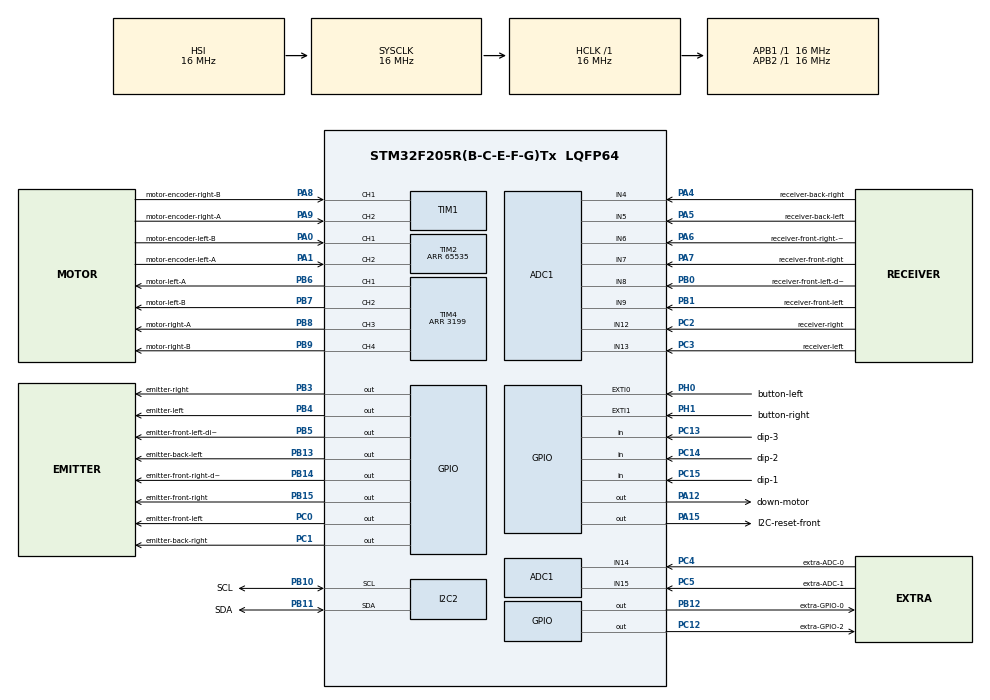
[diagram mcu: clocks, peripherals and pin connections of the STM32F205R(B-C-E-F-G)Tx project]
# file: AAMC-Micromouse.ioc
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ADC1.Channel-1\#ChannelRegularConversion=ADC_CHANNEL_4
ADC1.ContinuousConvMode=ENABLE
ADC1.DMAContinuousRequests=ENABLE
ADC1.NbrOfConversionFlag=1
ADC1.Rank-1\#ChannelRegularConversion=1
ADC1.SamplingTime-1\#ChannelRegularConversion=ADC_SAMPLETIME_3CYCLES
ADC1.master=1
Dma.ADC1.0.Direction=DMA_PERIPH_TO_MEMORY
Dma.ADC1.0.FIFOMode=DMA_FIFOMODE_DISABLE
Dma.ADC1.0.Instance=DMA2_Stream0
Dma.ADC1.0.MemDataAlignment=DMA_MDATAALIGN_HALFWORD
Dma.ADC1.0.MemInc=DMA_MINC_ENABLE
Dma.ADC1.0.Mode=DMA_CIRCULAR
Dma.ADC1.0.PeriphDataAlignment=DMA_PDATAALIGN_HALFWORD
Dma.ADC1.0.PeriphInc=DMA_PINC_DISABLE
Dma.ADC1.0.Priority=DMA_PRIORITY_LOW
Dma.Request0=ADC1
Mcu.Family=STM32F2
Mcu.Name=STM32F205R(B-C-E-F-G)Tx
Mcu.Package=LQFP64
NVIC.ADC_IRQn=true\:0\:0\:false\:false\:true\:true\:true\:true
NVIC.DMA2_Stream0_IRQn=true\:0\:0\:false\:false\:true\:false\:true\:true
NVIC.EXTI0_IRQn=true\:0\:0\:false\:false\:true\:true\:true\:true
NVIC.EXTI1_IRQn=true\:0\:0\:false\:false\:true\:true\:true\:true
NVIC.PriorityGroup=NVIC_PRIORITYGROUP_4
NVIC.TIM4_IRQn=true\:0\:0\:false\:false\:true\:true\:true\:true
PA0-WKUP.GPIO_Label=motor-encoder-left-B
PA0-WKUP.Signal=S_TIM2_CH1_ETR
PA1.GPIO_Label=motor-encoder-left-A
PA1.Signal=S_TIM2_CH2
PA11.GPIO_Label=LED-back-left
PA11.Signal=S_TIM1_CH4
PA12.GPIO_Label=down-motor
PA12.GPIO_PuPd=GPIO_PULLDOWN
PA12.Signal=GPIO_Output
PA13.GPIO_Label=SWDIO
PA13.Mode=Serial_Wire
PA13.Signal=SYS_JTMS-SWDIO
PA14.GPIO_Label=SWCLK
PA14.Mode=Serial_Wire
PA14.Signal=SYS_JTCK-SWCLK
PA15.GPIO_Label=I2C-reset-front
PA15.GPIO_PuPd=GPIO_PULLDOWN
PA15.Signal=GPIO_Output
PA2.GPIO_Label=LED-front-right
PA2.Signal=S_TIM2_CH3
PA3.GPIO_Label=LED-back-left
PA3.Signal=S_TIM2_CH4
PA4.GPIO_Label=receiver-back-right
PA4.Signal=ADCx_IN4
PA5.GPIO_Label=receiver-back-left
PA5.Signal=ADCx_IN5
PA6.GPIO_Label=receiver-front-right-diagonal
PA6.Signal=ADCx_IN6
PA7.GPIO_Label=receiver-front-right
PA7.Signal=ADCx_IN7
PA8.GPIO_Label=motor-encoder-right-B
PA8.Signal=S_TIM1_CH1
PA9.GPIO_Label=motor-encoder-right-A
PA9.Signal=S_TIM1_CH2
PB0.GPIO_Label=receiver-front-left-diagonal
PB0.Signal=ADCx_IN8
PB1.GPIO_Label=receiver-front-left
PB1.Signal=ADCx_IN9
PB10.GPIO_Label=SCL
PB10.Mode=I2C
PB10.Signal=I2C2_SCL
PB11.GPIO_Label=SDA
PB11.Mode=I2C
PB11.Signal=I2C2_SDA
PB12.GPIO_Label=extra-GPIO-0
PB12.Signal=GPIO_Output
PB13.GPIO_Label=emitter-back-left
PB13.Signal=GPIO_Output
PB14.GPIO_Label=emitter-front-right-diagonal
PB14.Signal=GPIO_Output
PB15.GPIO_Label=emitter-front-right
PB15.Signal=GPIO_Output
PB3.GPIO_Label=emitter-right
PB3.Signal=GPIO_Output
PB4.GPIO_Label=emitter-left
PB4.Signal=GPIO_Output
PB5.GPIO_Label=emitter-front-left-diagonal
PB5.Signal=GPIO_Output
PB6.GPIO_Label=motor-left-A
PB6.Signal=S_TIM4_CH1
PB7.GPIO_Label=motor-left-B
PB7.Signal=S_TIM4_CH2
PB8.GPIO_Label=motor-right-A
PB8.Signal=S_TIM4_CH3
PB9.GPIO_Label=motor-right-B
PB9.Signal=S_TIM4_CH4
PC0.GPIO_Label=emitter-front-left
PC0.Signal=GPIO_Output
PC1.GPIO_Label=emitter-back-right
PC1.Signal=GPIO_Output
PC10.GPIO_Label=USART3_TX
PC10.Signal=USART3_TX
PC11.GPIO_Label=USART3_RX
PC11.Signal=USART3_RX
PC12.GPIO_Label=extra-GPIO-2
PC12.Signal=GPIO_Output
PC13.GPIO_Label=dip-3
PC13.GPIO_PuPd=GPIO_PULLDOWN
PC13.Signal=GPIO_Input
PC14-OSC32_IN.GPIO_Label=dip-2
PC14-OSC32_IN.GPIO_PuPd=GPIO_PULLDOWN
PC14-OSC32_IN.Signal=GPIO_Input
PC15-OSC32_OUT.GPIO_Label=dip-1
PC15-OSC32_OUT.GPIO_PuPd=GPIO_PULLDOWN
PC15-OSC32_OUT.Signal=GPIO_Input
PC2.GPIO_Label=receiver-right
PC2.Signal=ADCx_IN12
PC3.GPIO_Label=receiver-left
PC3.Signal=ADCx_IN13
PC4.GPIO_Label=extra-ADC-0
PC4.Signal=ADCx_IN14
PC5.GPIO_Label=extra-ADC-1
PC5.Signal=ADCx_IN15
PC6.GPIO_Label=piezo-A
PC6.Signal=S_TIM3_CH1
PC7.GPIO_Label=piezo-B
PC7.Signal=S_TIM3_CH2
PC8.GPIO_Label=neopixel
PC8.Signal=S_TIM3_CH3
PC9.GPIO_Label=extra-PWM-0
PC9.Signal=S_TIM3_CH4
PH0-OSC_IN.GPIO_Label=button-left
PH0-OSC_IN.GPIO_ModeDefaultEXTI=GPIO_MODE_IT_RISING_FALLING
PH0-OSC_IN.GPIO_PuPd=GPIO_PULLDOWN
PH0-OSC_IN.Signal=GPXTI0
PH1-OSC_OUT.GPIO_Label=button-right
PH1-OSC_OUT.GPIO_ModeDefaultEXTI=GPIO_MODE_IT_RISING_FALLING
PH1-OSC_OUT.GPIO_PuPd=GPIO_PULLDOWN
PH1-OSC_OUT.Signal=GPXTI1
ProjectManager.HeapSize=0x200
ProjectManager.StackSize=0x400
ProjectManager.TargetToolchain=STM32CubeIDE
RCC.48MHZClocksFreq_Value=48000000
RCC.AHBFreq_Value=16000000
RCC.APB1Freq_Value=16000000
RCC.APB2Freq_Value=16000000
RCC.CortexFreq_Value=16000000
RCC.HSE_VALUE=25000000
RCC.HSI_VALUE=16000000
RCC.LSE_VALUE=32768
RCC.SYSCLKFreq_VALUE=16000000
RCC.VCOOutputFreq_Value=192000000
SH.ADCx_IN12.0=ADC1_IN12,IN12
SH.ADCx_IN13.0=ADC1_IN13,IN13
SH.ADCx_IN14.0=ADC1_IN14,IN14
SH.ADCx_IN15.0=ADC1_IN15,IN15
SH.ADCx_IN4.0=ADC1_IN4,IN4
SH.ADCx_IN5.0=ADC1_IN5,IN5
SH.ADCx_IN6.0=ADC1_IN6,IN6
SH.ADCx_IN7.0=ADC1_IN7,IN7
SH.ADCx_IN8.0=ADC1_IN8,IN8
SH.ADCx_IN9.0=ADC1_IN9,IN9
SH.S_TIM1_CH1.0=TIM1_CH1,Encoder_Interface
SH.S_TIM1_CH2.0=TIM1_CH2,Encoder_Interface
SH.S_TIM1_CH4.0=TIM1_CH4
SH.S_TIM2_CH1_ETR.0=TIM2_CH1,Encoder_Interface
SH.S_TIM2_CH2.0=TIM2_CH2,Encoder_Interface
SH.S_TIM2_CH3.0=TIM2_CH3
SH.S_TIM2_CH4.0=TIM2_CH4
SH.S_TIM3_CH1.0=TIM3_CH1
SH.S_TIM3_CH2.0=TIM3_CH2
SH.S_TIM3_CH3.0=TIM3_CH3
SH.S_TIM3_CH4.0=TIM3_CH4
SH.S_TIM4_CH1.0=TIM4_CH1,PWM Generation1 CH1
SH.S_TIM4_CH2.0=TIM4_CH2,PWM Generation2 CH2
SH.S_TIM4_CH3.0=TIM4_CH3,PWM Generation3 CH3
SH.S_TIM4_CH4.0=TIM4_CH4,PWM Generation4 CH4
TIM1.EncoderMode=TIM_ENCODERMODE_TI12
TIM2.EncoderMode=TIM_ENCODERMODE_TI12
TIM2.Period=65535
TIM4.Channel-PWM\ Generation1\ CH1=TIM_CHANNEL_1
TIM4.Channel-PWM\ Generation2\ CH2=TIM_CHANNEL_2
TIM4.Channel-PWM\ Generation3\ CH3=TIM_CHANNEL_3
TIM4.Channel-PWM\ Generation4\ CH4=TIM_CHANNEL_4
TIM4.Period=3199
board=custom

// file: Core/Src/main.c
/* USER CODE BEGIN Header */
/**
  ******************************************************************************
  * @file           : main.c
  * @brief          : Main program body
  ******************************************************************************
  * @attention
  *
  * Copyright (c) 2024 STMicroelectronics.
  * All rights reserved.
  *
  * This software is licensed under terms that can be found in the LICENSE file
  * in the root directory of this software component.
  * If no LICENSE file comes with this software, it is provided AS-IS.
  *
  ******************************************************************************
  */
/* USER CODE END Header */
#include "main.h"

/* USER CODE BEGIN Includes */
#include "encoders.h"
#include "motors.h"
//#include "controller.h"
#include "delay.h"
#include "irs.h"

/* USER CODE END Includes */

/* USER CODE BEGIN PD */

#define WALL_IR_THRESHOLD_FR 430
#define WALL_IR_THRESHOLD_FL 430
#define WALL_IR_THRESHOLD_LEFT 430
#define WALL_IR_THRESHOLD_RIGHT 430
/* USER CODE END PD */

ADC_HandleTypeDef hadc1;
DMA_HandleTypeDef hdma_adc1;

I2C_HandleTypeDef hi2c2;

TIM_HandleTypeDef htim1;
TIM_HandleTypeDef htim2;
TIM_HandleTypeDef htim4;

/* USER CODE BEGIN PV */
int buttonPressed = 0;
int16_t left_counts = 0;
int16_t right_counts = 0;

uint16_t ir_reading_left = 0;
uint16_t ir_reading_front_left = 0;
uint16_t ir_reading_front_right = 0;
uint16_t ir_reading_right = 0;
/* USER CODE END PV */

void SystemClock_Config(void);
static void MX_GPIO_Init(void);
static void MX_DMA_Init(void);
static void MX_ADC1_Init(void);
static void MX_TIM1_Init(void);
static void MX_TIM2_Init(void);
static void MX_TIM4_Init(void);
static void MX_I2C2_Init(void);

int main(void)
{

  /* MCU Configuration--------------------------------------------------------*/

  /* Reset of all peripherals, Initializes the Flash interface and the Systick. */
      HAL_Init();

  /* USER CODE BEGIN Init */
  Delay_Init();
  /* USER CODE END Init */

  /* Configure the system clock */
  SystemClock_Config();

  /* Initialize all configured peripherals */
  MX_GPIO_Init();
  MX_DMA_Init();
  MX_ADC1_Init();
  MX_TIM1_Init();
  MX_TIM2_Init();
  MX_TIM4_Init();
  MX_I2C2_Init();
  /* USER CODE BEGIN 2 */

  HAL_TIM_Encoder_Start(&htim1, TIM_CHANNEL_ALL);
  HAL_TIM_Encoder_Start(&htim2, TIM_CHANNEL_ALL);
  HAL_TIM_PWM_Start(&htim4, TIM_CHANNEL_1);
  HAL_TIM_PWM_Start(&htim4, TIM_CHANNEL_2);
  HAL_TIM_PWM_Start(&htim4, TIM_CHANNEL_3);
  HAL_TIM_PWM_Start(&htim4, TIM_CHANNEL_4);

  /* USER CODE END 2 */

  /* Infinite loop */
  while (1)
  {

    /* USER CODE BEGIN 3 */
	  resetMotors();
	  ir_reading_left = readLeftIR();
	  ir_reading_front_left = readFrontLeftIR();
	  ir_reading_front_right = readFrontRightIR();
	  ir_reading_right = readRightIR();
	  left_counts = getLeftEncoderCounts();
	  right_counts = getRightEncoderCounts();
	  setMotorRPWM(0.5);
	  setMotorLPWM(0.5);
	  delayMicroseconds(1000000);
	  resetMotors();
	  delayMicroseconds(1000000);

  }
  /* USER CODE END 3 */
}

void SystemClock_Config(void)
{
  RCC_OscInitTypeDef RCC_OscInitStruct = {0};
  RCC_ClkInitTypeDef RCC_ClkInitStruct = {0};

  /** Initializes the RCC Oscillators according to the specified parameters
  * in the RCC_OscInitTypeDef structure.
  */
  RCC_OscInitStruct.OscillatorType = RCC_OSCILLATORTYPE_HSI;
  RCC_OscInitStruct.HSIState = RCC_HSI_ON;
  RCC_OscInitStruct.HSICalibrationValue = RCC_HSICALIBRATION_DEFAULT;
  RCC_OscInitStruct.PLL.PLLState = RCC_PLL_NONE;
  if (HAL_RCC_OscConfig(&RCC_OscInitStruct) != HAL_OK)
  {
    Error_Handler();
  }

  /** Initializes the CPU, AHB and APB buses clocks
  */
  RCC_ClkInitStruct.ClockType = RCC_CLOCKTYPE_HCLK|RCC_CLOCKTYPE_SYSCLK
                              |RCC_CLOCKTYPE_PCLK1|RCC_CLOCKTYPE_PCLK2;
  RCC_ClkInitStruct.SYSCLKSource = RCC_SYSCLKSOURCE_HSI;
  RCC_ClkInitStruct.AHBCLKDivider = RCC_SYSCLK_DIV1;
  RCC_ClkInitStruct.APB1CLKDivider = RCC_HCLK_DIV1;
  RCC_ClkInitStruct.APB2CLKDivider = RCC_HCLK_DIV1;

  if (HAL_RCC_ClockConfig(&RCC_ClkInitStruct, FLASH_LATENCY_0) != HAL_OK)
  {
    Error_Handler();
  }
}

static void MX_ADC1_Init(void)
{

  ADC_ChannelConfTypeDef sConfig = {0};

  /** Configure the global features of the ADC (Clock, Resolution, Data Alignment and number of conversion)
  */
  hadc1.Instance = ADC1;
  hadc1.Init.ClockPrescaler = ADC_CLOCK_SYNC_PCLK_DIV2;
  hadc1.Init.Resolution = ADC_RESOLUTION_12B;
  hadc1.Init.ScanConvMode = DISABLE;
  hadc1.Init.ContinuousConvMode = ENABLE;
  hadc1.Init.DiscontinuousConvMode = DISABLE;
  hadc1.Init.ExternalTrigConvEdge = ADC_EXTERNALTRIGCONVEDGE_NONE;
  hadc1.Init.ExternalTrigConv = ADC_SOFTWARE_START;
  hadc1.Init.DataAlign = ADC_DATAALIGN_RIGHT;
  hadc1.Init.NbrOfConversion = 1;
  hadc1.Init.DMAContinuousRequests = ENABLE;
  hadc1.Init.EOCSelection = ADC_EOC_SINGLE_CONV;
  if (HAL_ADC_Init(&hadc1) != HAL_OK)
  {
    Error_Handler();
  }

  /** Configure for the selected ADC regular channel its corresponding rank in the sequencer and its sample time.
  */
  sConfig.Channel = ADC_CHANNEL_4;
  sConfig.Rank = 1;
  sConfig.SamplingTime = ADC_SAMPLETIME_3CYCLES;
  if (HAL_ADC_ConfigChannel(&hadc1, &sConfig) != HAL_OK)
  {
    Error_Handler();
  }

}

static void MX_I2C2_Init(void)
{

  hi2c2.Instance = I2C2;
  hi2c2.Init.ClockSpeed = 100000;
  hi2c2.Init.DutyCycle = I2C_DUTYCYCLE_2;
  hi2c2.Init.OwnAddress1 = 0;
  hi2c2.Init.AddressingMode = I2C_ADDRESSINGMODE_7BIT;
  hi2c2.Init.DualAddressMode = I2C_DUALADDRESS_DISABLE;
  hi2c2.Init.OwnAddress2 = 0;
  hi2c2.Init.GeneralCallMode = I2C_GENERALCALL_DISABLE;
  hi2c2.Init.NoStretchMode = I2C_NOSTRETCH_DISABLE;
  if (HAL_I2C_Init(&hi2c2) != HAL_OK)
  {
    Error_Handler();
  }

}

static void MX_TIM1_Init(void)
{

  TIM_Encoder_InitTypeDef sConfig = {0};
  TIM_MasterConfigTypeDef sMasterConfig = {0};

  htim1.Instance = TIM1;
  htim1.Init.Prescaler = 0;
  htim1.Init.CounterMode = TIM_COUNTERMODE_UP;
  htim1.Init.Period = 65535;
  htim1.Init.ClockDivision = TIM_CLOCKDIVISION_DIV1;
  htim1.Init.RepetitionCounter = 0;
  htim1.Init.AutoReloadPreload = TIM_AUTORELOAD_PRELOAD_DISABLE;
  sConfig.EncoderMode = TIM_ENCODERMODE_TI12;
  sConfig.IC1Polarity = TIM_ICPOLARITY_RISING;
  sConfig.IC1Selection = TIM_ICSELECTION_DIRECTTI;
  sConfig.IC1Prescaler = TIM_ICPSC_DIV1;
  sConfig.IC1Filter = 0;
  sConfig.IC2Polarity = TIM_ICPOLARITY_RISING;
  sConfig.IC2Selection = TIM_ICSELECTION_DIRECTTI;
  sConfig.IC2Prescaler = TIM_ICPSC_DIV1;
  sConfig.IC2Filter = 0;
  if (HAL_TIM_Encoder_Init(&htim1, &sConfig) != HAL_OK)
  {
    Error_Handler();
  }
  sMasterConfig.MasterOutputTrigger = TIM_TRGO_RESET;
  sMasterConfig.MasterSlaveMode = TIM_MASTERSLAVEMODE_DISABLE;
  if (HAL_TIMEx_MasterConfigSynchronization(&htim1, &sMasterConfig) != HAL_OK)
  {
    Error_Handler();
  }

}

static void MX_TIM2_Init(void)
{

  TIM_Encoder_InitTypeDef sConfig = {0};
  TIM_MasterConfigTypeDef sMasterConfig = {0};

  htim2.Instance = TIM2;
  htim2.Init.Prescaler = 0;
  htim2.Init.CounterMode = TIM_COUNTERMODE_UP;
  htim2.Init.Period = 65535;
  htim2.Init.ClockDivision = TIM_CLOCKDIVISION_DIV1;
  htim2.Init.AutoReloadPreload = TIM_AUTORELOAD_PRELOAD_DISABLE;
  sConfig.EncoderMode = TIM_ENCODERMODE_TI12;
  sConfig.IC1Polarity = TIM_ICPOLARITY_RISING;
  sConfig.IC1Selection = TIM_ICSELECTION_DIRECTTI;
  sConfig.IC1Prescaler = TIM_ICPSC_DIV1;
  sConfig.IC1Filter = 0;
  sConfig.IC2Polarity = TIM_ICPOLARITY_RISING;
  sConfig.IC2Selection = TIM_ICSELECTION_DIRECTTI;
  sConfig.IC2Prescaler = TIM_ICPSC_DIV1;
  sConfig.IC2Filter = 0;
  if (HAL_TIM_Encoder_Init(&htim2, &sConfig) != HAL_OK)
  {
    Error_Handler();
  }
  sMasterConfig.MasterOutputTrigger = TIM_TRGO_RESET;
  sMasterConfig.MasterSlaveMode = TIM_MASTERSLAVEMODE_DISABLE;
  if (HAL_TIMEx_MasterConfigSynchronization(&htim2, &sMasterConfig) != HAL_OK)
  {
    Error_Handler();
  }

}

static void MX_TIM4_Init(void)
{

  TIM_MasterConfigTypeDef sMasterConfig = {0};
  TIM_OC_InitTypeDef sConfigOC = {0};

  htim4.Instance = TIM4;
  htim4.Init.Prescaler = 0;
  htim4.Init.CounterMode = TIM_COUNTERMODE_UP;
  htim4.Init.Period = 3199;
  htim4.Init.ClockDivision = TIM_CLOCKDIVISION_DIV1;
  htim4.Init.AutoReloadPreload = TIM_AUTORELOAD_PRELOAD_DISABLE;
  if (HAL_TIM_PWM_Init(&htim4) != HAL_OK)
  {
    Error_Handler();
  }
  sMasterConfig.MasterOutputTrigger = TIM_TRGO_RESET;
  sMasterConfig.MasterSlaveMode = TIM_MASTERSLAVEMODE_DISABLE;
  if (HAL_TIMEx_MasterConfigSynchronization(&htim4, &sMasterConfig) != HAL_OK)
  {
    Error_Handler();
  }
  sConfigOC.OCMode = TIM_OCMODE_PWM1;
  sConfigOC.Pulse = 0;
  sConfigOC.OCPolarity = TIM_OCPOLARITY_HIGH;
  sConfigOC.OCFastMode = TIM_OCFAST_DISABLE;
  if (HAL_TIM_PWM_ConfigChannel(&htim4, &sConfigOC, TIM_CHANNEL_1) != HAL_OK)
  {
    Error_Handler();
  }
  if (HAL_TIM_PWM_ConfigChannel(&htim4, &sConfigOC, TIM_CHANNEL_2) != HAL_OK)
  {
    Error_Handler();
  }
  if (HAL_TIM_PWM_ConfigChannel(&htim4, &sConfigOC, TIM_CHANNEL_3) != HAL_OK)
  {
    Error_Handler();
  }
  if (HAL_TIM_PWM_ConfigChannel(&htim4, &sConfigOC, TIM_CHANNEL_4) != HAL_OK)
  {
    Error_Handler();
  }
  HAL_TIM_MspPostInit(&htim4);

}

static void MX_DMA_Init(void)
{

  /* DMA controller clock enable */
  __HAL_RCC_DMA2_CLK_ENABLE();

  /* DMA interrupt init */
  /* DMA2_Stream0_IRQn interrupt configuration */
  HAL_NVIC_SetPriority(DMA2_Stream0_IRQn, 0, 0);
  HAL_NVIC_EnableIRQ(DMA2_Stream0_IRQn);

}

static void MX_GPIO_Init(void)
{
  GPIO_InitTypeDef GPIO_InitStruct = {0};

  /* GPIO Ports Clock Enable */
  __HAL_RCC_GPIOC_CLK_ENABLE();
  __HAL_RCC_GPIOH_CLK_ENABLE();
  __HAL_RCC_GPIOA_CLK_ENABLE();
  __HAL_RCC_GPIOB_CLK_ENABLE();

  /*Configure GPIO pin Output Level */
  HAL_GPIO_WritePin(GPIOC, emitter_front_left_Pin|emitter_back_right_Pin|extra_GPIO_2_Pin, GPIO_PIN_RESET);

  /*Configure GPIO pin Output Level */
  HAL_GPIO_WritePin(GPIOB, extra_GPIO_0_Pin|emitter_back_left_Pin|emitter_front_right_diagonal_Pin|emitter_front_right_Pin
                          |emitter_right_Pin|emitter_left_Pin|emitter_front_left_diagonal_Pin, GPIO_PIN_RESET);

  /*Configure GPIO pin Output Level */
  HAL_GPIO_WritePin(GPIOA, down_motor_Pin|I2C_reset_front_Pin, GPIO_PIN_RESET);

  /*Configure GPIO pins : dip_3_Pin dip_2_Pin dip_1_Pin */
  GPIO_InitStruct.Pin = dip_3_Pin|dip_2_Pin|dip_1_Pin;
  GPIO_InitStruct.Mode = GPIO_MODE_INPUT;
  GPIO_InitStruct.Pull = GPIO_PULLDOWN;
  HAL_GPIO_Init(GPIOC, &GPIO_InitStruct);

  /*Configure GPIO pins : button_left_Pin button_right_Pin */
  GPIO_InitStruct.Pin = button_left_Pin|button_right_Pin;
  GPIO_InitStruct.Mode = GPIO_MODE_IT_RISING_FALLING;
  GPIO_InitStruct.Pull = GPIO_PULLDOWN;
  HAL_GPIO_Init(GPIOH, &GPIO_InitStruct);

  /*Configure GPIO pins : emitter_front_left_Pin emitter_back_right_Pin extra_GPIO_2_Pin */
  GPIO_InitStruct.Pin = emitter_front_left_Pin|emitter_back_right_Pin|extra_GPIO_2_Pin;
  GPIO_InitStruct.Mode = GPIO_MODE_OUTPUT_PP;
  GPIO_InitStruct.Pull = GPIO_NOPULL;
  GPIO_InitStruct.Speed = GPIO_SPEED_FREQ_LOW;
  HAL_GPIO_Init(GPIOC, &GPIO_InitStruct);

  /*Configure GPIO pins : extra_GPIO_0_Pin emitter_back_left_Pin emitter_front_right_diagonal_Pin emitter_front_right_Pin
                           emitter_right_Pin emitter_left_Pin emitter_front_left_diagonal_Pin */
  GPIO_InitStruct.Pin = extra_GPIO_0_Pin|emitter_back_left_Pin|emitter_front_right_diagonal_Pin|emitter_front_right_Pin
                          |emitter_right_Pin|emitter_left_Pin|emitter_front_left_diagonal_Pin;
  GPIO_InitStruct.Mode = GPIO_MODE_OUTPUT_PP;
  GPIO_InitStruct.Pull = GPIO_NOPULL;
  GPIO_InitStruct.Speed = GPIO_SPEED_FREQ_LOW;
  HAL_GPIO_Init(GPIOB, &GPIO_InitStruct);

  /*Configure GPIO pins : piezo_A_Pin piezo_B_Pin neopixel_Pin extra_PWM_0_Pin */
  GPIO_InitStruct.Pin = piezo_A_Pin|piezo_B_Pin|neopixel_Pin|extra_PWM_0_Pin;
  GPIO_InitStruct.Mode = GPIO_MODE_AF_PP;
  GPIO_InitStruct.Pull = GPIO_NOPULL;
  GPIO_InitStruct.Speed = GPIO_SPEED_FREQ_LOW;
  GPIO_InitStruct.Alternate = GPIO_AF2_TIM3;
  HAL_GPIO_Init(GPIOC, &GPIO_InitStruct);

  /*Configure GPIO pins : down_motor_Pin I2C_reset_front_Pin */
  GPIO_InitStruct.Pin = down_motor_Pin|I2C_reset_front_Pin;
  GPIO_InitStruct.Mode = GPIO_MODE_OUTPUT_PP;
  GPIO_InitStruct.Pull = GPIO_PULLDOWN;
  GPIO_InitStruct.Speed = GPIO_SPEED_FREQ_LOW;
  HAL_GPIO_Init(GPIOA, &GPIO_InitStruct);

  /*Configure GPIO pins : USART3_TX_Pin USART3_RX_Pin */
  GPIO_InitStruct.Pin = USART3_TX_Pin|USART3_RX_Pin;
  GPIO_InitStruct.Mode = GPIO_MODE_AF_PP;
  GPIO_InitStruct.Pull = GPIO_NOPULL;
  GPIO_InitStruct.Speed = GPIO_SPEED_FREQ_VERY_HIGH;
  GPIO_InitStruct.Alternate = GPIO_AF7_USART3;
  HAL_GPIO_Init(GPIOC, &GPIO_InitStruct);

  /* EXTI interrupt init*/
  HAL_NVIC_SetPriority(EXTI0_IRQn, 0, 0);
  HAL_NVIC_EnableIRQ(EXTI0_IRQn);

  HAL_NVIC_SetPriority(EXTI1_IRQn, 0, 0);
  HAL_NVIC_EnableIRQ(EXTI1_IRQn);

}

/* USER CODE BEGIN 4 */
ADC_HandleTypeDef* Get_HADC1_Ptr(void)
{
	return &hadc1;
}

void HAL_GPIO_EXTI_Callback(uint16_t GPIO_PIN) {
	resetMotors();
	if (GPIO_PIN == button_left_Pin) {
		if (HAL_GPIO_ReadPin(button_left_GPIO_Port, button_left_Pin) == GPIO_PIN_SET) {
			buttonPressed = 1;
		}
		else {
			buttonPressed = 0;
		}
	}

	if (GPIO_PIN == button_right_Pin) {
		if (HAL_GPIO_ReadPin(button_right_GPIO_Port, button_right_Pin ) == GPIO_PIN_SET) {
			buttonPressed = 1;
		}
		else {
			buttonPressed = 0;
		}
	}

}
/* USER CODE END 4 */

void Error_Handler(void)
{
  __disable_irq();
  while (1)
  {
  }
}
